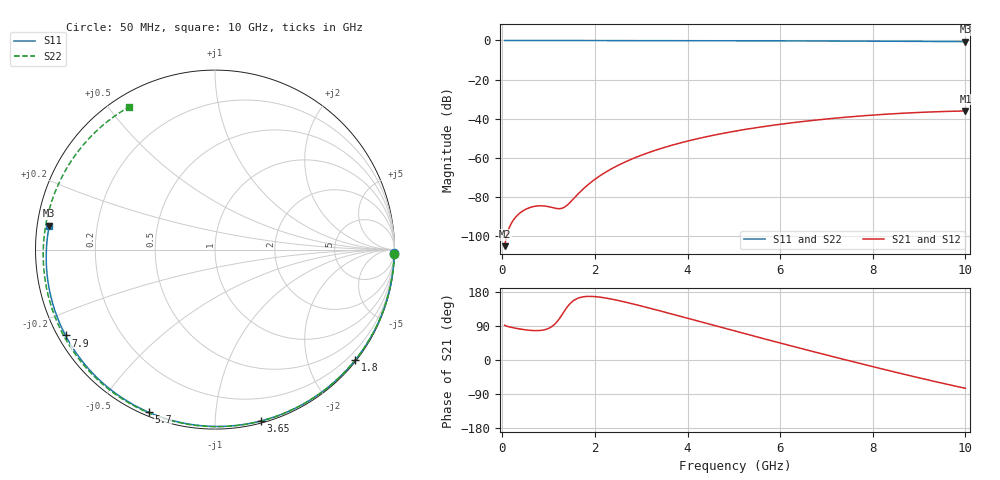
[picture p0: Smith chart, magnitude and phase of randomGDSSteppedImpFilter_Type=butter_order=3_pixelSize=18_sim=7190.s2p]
! freq	dB(S11)	phase(S11)	dB(S12)	phase(S12)
!  dB(S21)	phase(S21)	dB(S22)	phase(S22)
!S-par simulation data
#  GHz  S  DB  R 50
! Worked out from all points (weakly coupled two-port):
!   200 points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, 50 MHz to 10 GHz, reference 50 ohm
!   highest |S21| = -36.03 dB at 10 GHz (marker M1); lowest = -105.1 dB at 50 MHz (marker M2)
!   lowest |S11| = -0.6 dB at 10 GHz (marker M3), VSWR 28.88, Z = 1.74 + j3.59 ohm
!   |S11| at or under -10 dB: nowhere
!   |S22| runs from -0.6 to 0.0 dB; largest |S21 - S12| = 0
!   S11 on the Smith chart (normalised r, x): 50 MHz: open; 1.8 GHz: 0.03, -2.89; 3.65 GHz: 0.02, -1.31; 5.7 GHz: 0.02, -0.67; 7.9 GHz: 0.02, -0.27; 10 GHz: 0.03, +0.07
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0.05  -0.00 -1.0  -105.14 91.7  -105.14 91.7  -0.00 -1.3
0.75  -0.02 -16.1  -84.61 77.5  -84.61 77.5  -0.03 -20.0
1.55  -0.04 -33.0  -80.62 157.7  -80.62 157.7  -0.05 -41.0
1.6  -0.04 -34.0  -79.37 161.2  -79.37 161.2  -0.05 -42.3
1.75  -0.05 -37.1  -75.84 166.8  -75.84 166.8  -0.06 -46.1
1.8  -0.05 -38.2  -74.77 167.5  -74.77 167.5  -0.06 -47.4
2.1  -0.06 -44.3  -69.31 166.0  -69.31 166.0  -0.07 -54.9
2.45  -0.07 -51.4  -64.44 158.4  -64.44 158.4  -0.08 -63.6
2.9  -0.08 -60.4  -59.60 145.6  -59.60 145.6  -0.10 -74.5
3.4  -0.09 -70.1  -55.41 129.8  -55.41 129.8  -0.11 -86.4
3.65  -0.10 -74.9  -53.64 121.7  -53.64 121.7  -0.12 -92.2
4.35  -0.12 -88.0  -49.50 98.7  -49.50 98.7  -0.15 -108.0
5.05  -0.15 -100.7  -46.26 75.6  -46.26 75.6  -0.19 -123.4
5.7  -0.19 -112.2  -43.82 54.5  -43.82 54.5  -0.22 -137.5
6.2  -0.22 -120.9  -42.24 38.4  -42.24 38.4  -0.26 -148.3
6.7  -0.25 -129.5  -40.87 22.6  -40.87 22.6  -0.30 -159.1
7.3  -0.30 -139.8  -39.47 3.9  -39.47 3.9  -0.35 -172.3
7.9  -0.35 -150.1  -38.32 -14.5  -38.32 -14.5  -0.41 174.1
8.35  -0.40 -158.0  -37.60 -28.0  -37.60 -28.0  -0.46 163.6
9.15  -0.49 -172.3  -36.64 -51.4  -36.64 -51.4  -0.55 143.9
9.55  -0.54 -179.7  -36.30 -62.6  -36.30 -62.6  -0.60 133.4
10  -0.60 171.8  -36.03 -74.8  -36.03 -74.8  -0.65 121.2
